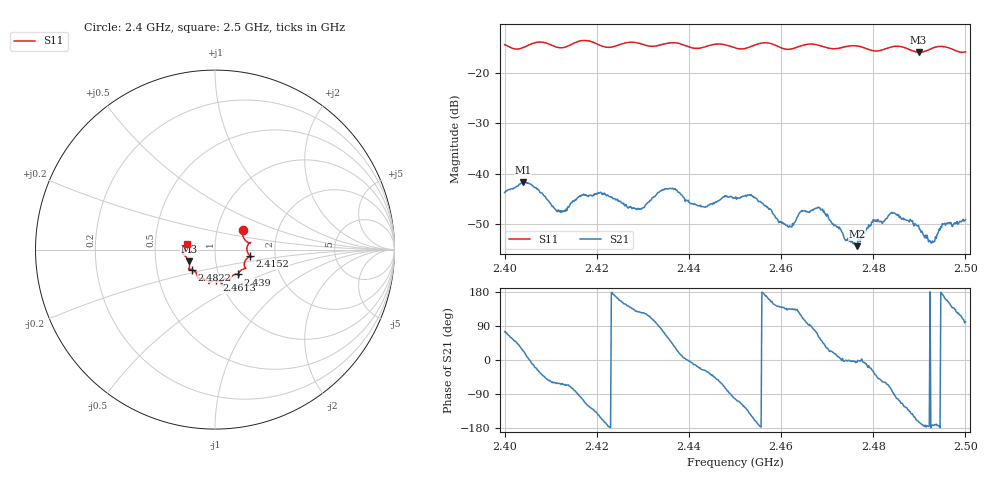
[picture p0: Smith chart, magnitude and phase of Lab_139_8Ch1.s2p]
# Hz S RI R 50
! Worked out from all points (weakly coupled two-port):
!   601 points, 2.4 GHz to 2.5 GHz, reference 50 ohm
!   highest |S21| = -41.68 dB at 2.404 GHz (marker M1); lowest = -54.4 dB at 2.4765 GHz (marker M2)
!   lowest |S11| = -15.9 dB at 2.4898 GHz (marker M3), VSWR 1.38, Z = 37 - j5.03 ohm
!   |S11| at or under -10 dB: start of sweep to end of sweep
!   S12 and S22 are empty: the file has one direction only
!   S11 on the Smith chart (normalised r, x): 2.4 GHz: 1.33, +0.31; 2.4152 GHz: 1.48, -0.11; 2.439 GHz: 1.24, -0.36; 2.4613 GHz: 0.96, -0.34; 2.4822 GHz: 0.76, -0.17; 2.5 GHz: 0.73, +0.05
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2.4e9  0.1551 0.1114  0.00167 0.00624  0 0  0 0
2.404e9  0.1714 0.0486  0.00749 0.00344  0 0  0 0
2.411667e9  0.1781 0.0112  0.00207 -0.00383  0 0  0 0
2.415167e9  0.1951 -0.0362  0.000849 -0.00527  0 0  0 0
2.416667e9  0.2048 -0.0421  -0.00111 -0.00599  0 0  0 0
2.429167e9  0.1662 -0.1059  -0.00267 0.00349  0 0  0 0
2.433333e9  0.132 -0.1325  -8.31e-05 0.00646  0 0  0 0
2.439e9  0.1276 -0.1385  0.00569 0.000524  0 0  0 0
2.443167e9  0.0895 -0.1555  0.00418 -0.00211  0 0  0 0
2.45e9  0.0689 -0.1635  -0.0012 -0.00558  0 0  0 0
2.453667e9  0.0362 -0.1808  -0.00514 -0.00307  0 0  0 0
2.461333e9  0.00766 -0.1713  -0.00204 0.00227  0 0  0 0
2.466667e9  -0.0339 -0.1904  0.00019 0.00428  0 0  0 0
2.4685e9  -0.0346 -0.1829  0.00254 0.00365  0 0  0 0
2.4765e9  -0.0947 -0.159  0.00189 -0.000188  0 0  0 0
2.480167e9  -0.1081 -0.1251  0.0028 -0.00188  0 0  0 0
2.482167e9  -0.1282 -0.1118  0.00177 -0.00285  0 0  0 0
2.483333e9  -0.1395 -0.1102  0.00144 -0.00358  0 0  0 0
2.489833e9  -0.1455 -0.0662  -0.00291 -0.000909  0 0  0 0
2.492833e9  -0.1734 -0.0289  -0.00211 -0.000322  0 0  0 0
2.495167e9  -0.1815 -0.0208  -0.00309 0.000486  0 0  0 0
2.5e9  -0.1581 0.0338  -0.000654 0.00341  0 0  0 0
